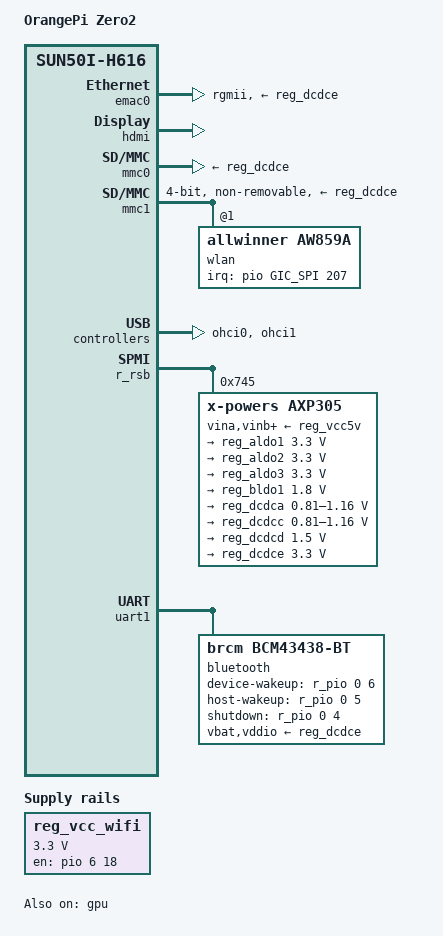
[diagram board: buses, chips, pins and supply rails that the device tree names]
// SPDX-License-Identifier: (GPL-2.0+ OR MIT)
/*
 * Copyright (C) 2020 Arm Ltd.
 */

/dts-v1/;

#include "sun50i-h616-orangepi-zero.dtsi"
#include "sun50i-h616-cpu-opp.dtsi"

/ {
	model = "OrangePi Zero2";
	compatible = "xunlong,orangepi-zero2", "allwinner,sun50i-h616";

	reg_vcc_wifi: reg_vcc_wifi {
		compatible = "regulator-fixed";
		regulator-name = "vcc-wifi";
		regulator-min-microvolt = <3300000>;
		regulator-max-microvolt = <3300000>;
		gpio = <&pio 6 18 GPIO_ACTIVE_HIGH>; /* PG18 WL_REG_ON */
		regulator-always-on;
		enable-active-high;
	};
};

&cpu0 {
	cpu-supply = <&reg_dcdca>;
};

&emac0 {
	allwinner,rx-delay-ps = <3100>;
	allwinner,tx-delay-ps = <700>;
	phy-mode = "rgmii";
	phy-supply = <&reg_dcdce>;
	status = "okay";
};

&gpu {
	mali-supply = <&reg_dcdcc>;
	status = "okay";
};

&hdmi {
	hvcc-supply = <&reg_bldo1>;
	status = "okay";
};

&mmc0 {
	vmmc-supply = <&reg_dcdce>;
};

&mmc1 {
	vmmc-supply = <&reg_dcdce>;
	vqmmc-supply = <&reg_vcc_wifi>;
	bus-width = <4>;
	non-removable;
	status = "okay";

	wlan: wifi@1 {
		reg = <1>;
		compatible = "allwinner,aw859a";
		interrupt-parent = <&pio>;
		interrupts = <GIC_SPI 207 IRQ_TYPE_EDGE_RISING>;
		interrupt-names = "host-wake";
	};
};

&ohci0 {
	status = "okay";
};

&ohci1 {
	status = "okay";
};

&r_rsb {
	status = "okay";

	axp305: pmic@745 {
		compatible = "x-powers,axp305", "x-powers,axp805",
			     "x-powers,axp806";
		interrupt-controller;
		#interrupt-cells = <1>;
		reg = <0x745>;

		x-powers,self-working-mode;
		vina-supply = <&reg_vcc5v>;
		vinb-supply = <&reg_vcc5v>;
		vinc-supply = <&reg_vcc5v>;
		vind-supply = <&reg_vcc5v>;
		vine-supply = <&reg_vcc5v>;
		aldoin-supply = <&reg_vcc5v>;
		bldoin-supply = <&reg_vcc5v>;
		cldoin-supply = <&reg_vcc5v>;

		regulators {
			reg_aldo1: aldo1 {
				regulator-always-on;
				regulator-min-microvolt = <3300000>;
				regulator-max-microvolt = <3300000>;
				regulator-name = "vcc-sys";
			};

			reg_aldo2: aldo2 {	/* 3.3V on headers */
				regulator-always-on;
				regulator-min-microvolt = <3300000>;
				regulator-max-microvolt = <3300000>;
				regulator-name = "vcc3v3-ext";
			};

			reg_aldo3: aldo3 {	/* 3.3V on headers */
				regulator-always-on;
				regulator-min-microvolt = <3300000>;
				regulator-max-microvolt = <3300000>;
				regulator-name = "vcc3v3-ext2";
			};

			reg_bldo1: bldo1 {
				regulator-always-on;
				regulator-min-microvolt = <1800000>;
				regulator-max-microvolt = <1800000>;
				regulator-name = "vcc1v8";
			};

			bldo2 {
				/* unused */
			};

			bldo3 {
				/* unused */
			};

			bldo4 {
				/* unused */
			};

			cldo1 {
				/* reserved */
			};

			cldo2 {
				/* unused */
			};

			cldo3 {
				/* unused */
			};

			reg_dcdca: dcdca {
				regulator-always-on;
				regulator-min-microvolt = <810000>;
				regulator-max-microvolt = <1160000>;
				regulator-name = "vdd-cpu";
			};

			reg_dcdcc: dcdcc {
				regulator-always-on;
				regulator-min-microvolt = <810000>;
				regulator-max-microvolt = <1160000>;
				regulator-name = "vdd-gpu-sys";
			};

			reg_dcdcd: dcdcd {
				regulator-always-on;
				regulator-min-microvolt = <1500000>;
				regulator-max-microvolt = <1500000>;
				regulator-name = "vdd-dram";
			};

			reg_dcdce: dcdce {
				regulator-always-on;
				regulator-min-microvolt = <3300000>;
				regulator-max-microvolt = <3300000>;
				regulator-name = "vcc-eth-mmc";
			};

			sw {
				/* unused */
			};
		};
	};
};

&pio {
	vcc-pc-supply = <&reg_aldo1>;
	vcc-pf-supply = <&reg_aldo1>;
	vcc-pg-supply = <&reg_bldo1>;
	vcc-ph-supply = <&reg_aldo1>;
	vcc-pi-supply = <&reg_aldo1>;
};

&uart1 {
	pinctrl-names = "default";
	pinctrl-0 = <&uart1_pins>, <&uart1_rts_cts_pins>;
	uart-has-rtscts;
	status = "okay";

	bluetooth {
		compatible = "brcm,bcm43438-bt";
		clocks = <&rtc 1>;
		clock-names = "lpo";
		vbat-supply = <&reg_dcdce>;
		vddio-supply = <&reg_dcdce>;
		device-wakeup-gpios = <&r_pio 0 6 GPIO_ACTIVE_HIGH>; /* PL6 */
		host-wakeup-gpios = <&r_pio 0 5 GPIO_ACTIVE_HIGH>; /* PL5 */
		shutdown-gpios = <&r_pio 0 4 GPIO_ACTIVE_HIGH>; /* PL4 */
	};
};
